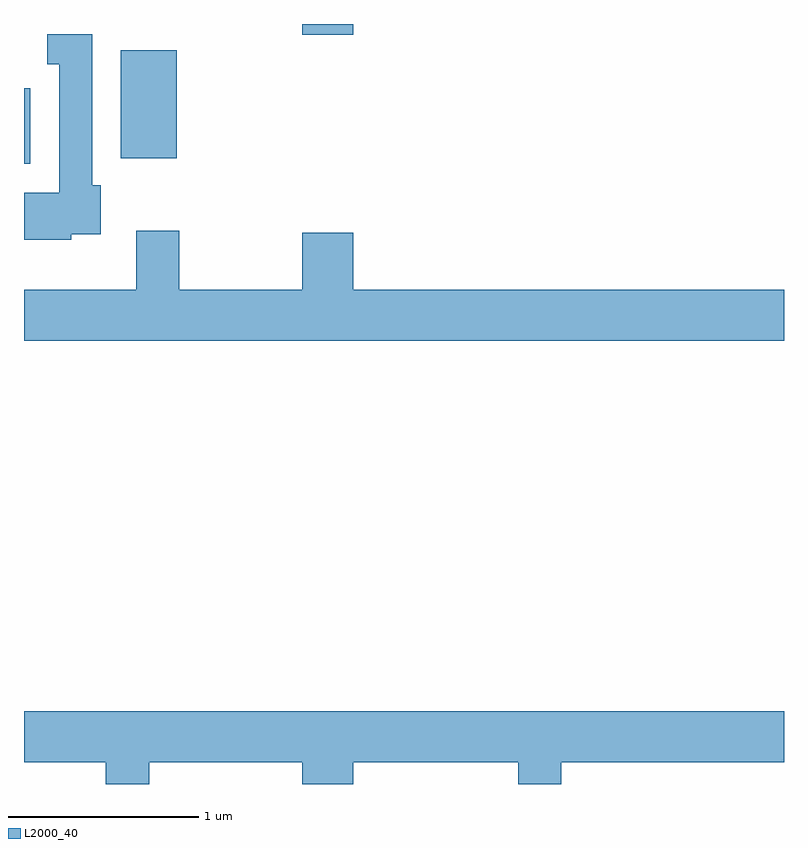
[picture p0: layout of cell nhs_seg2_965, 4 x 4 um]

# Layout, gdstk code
import gdstk
lib = gdstk.Library(unit=1e-6, precision=1e-09)
def R(c, l, rs):  # rectangles x0, y0, x1, y1
    for r in rs: c.add(gdstk.rectangle(r[:2], r[2:], *l))
def P(c, l, *ps):  # polygons
    for p in ps: c.add(gdstk.Polygon(p, *l))
L2000_40 = (2000, 40)

nhs_seg2_965 = lib.new_cell('nhs_seg2_965')
R(nhs_seg2_965, L2000_40, [(213.611,1007.066,213.644,1007.464), (214.121,1007.096,214.414,1007.664), (215.076,1007.746,215.344,1007.802)])
P(nhs_seg2_965, L2000_40, [(213.859,1006.696),(214.014,1006.696),(214.014,1006.954),(213.969,1006.954),(213.969,1007.749),(213.733,1007.749),(213.733,1007.591),(213.796,1007.591),(213.796,1006.914),(213.611,1006.914),(213.611,1006.666),(213.859,1006.666)],
  [(215.076,1006.704),(215.076,1006.404),(214.429,1006.404),(214.429,1006.714),(214.201,1006.714),(214.201,1006.404),(213.611,1006.404),(213.611,1006.136),(217.611,1006.136),(217.611,1006.404),(215.344,1006.404),(215.344,1006.704)],
  [(214.269,1003.916),(215.076,1003.916),(215.076,1003.802),(215.344,1003.802),(215.344,1003.916),(216.211,1003.916),(216.211,1003.802),(216.439,1003.802),(216.439,1003.916),(217.611,1003.916),(217.611,1004.184),(213.611,1004.184),(213.611,1003.916),(214.041,1003.916),(214.041,1003.802),(214.269,1003.802)])

lib.write_gds('nhs_seg2_965.gds')
